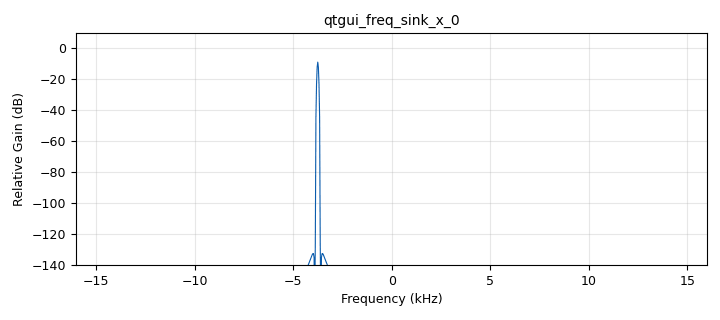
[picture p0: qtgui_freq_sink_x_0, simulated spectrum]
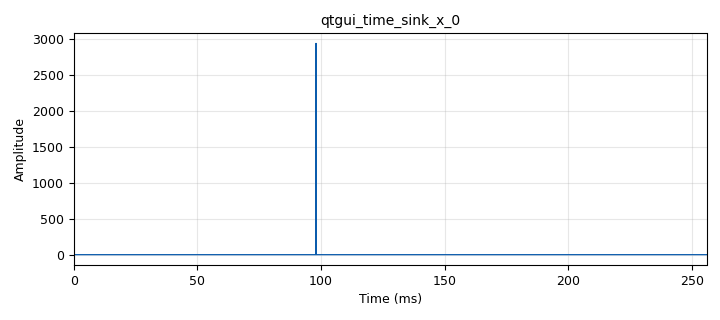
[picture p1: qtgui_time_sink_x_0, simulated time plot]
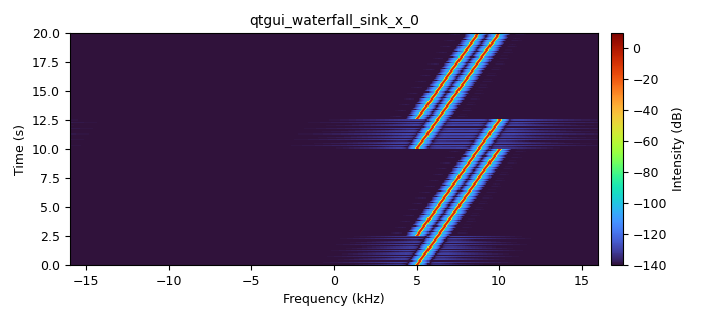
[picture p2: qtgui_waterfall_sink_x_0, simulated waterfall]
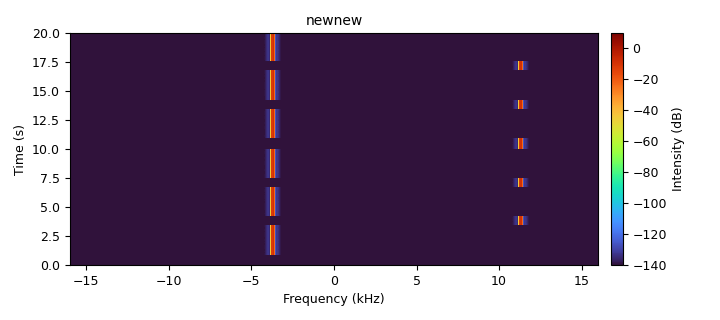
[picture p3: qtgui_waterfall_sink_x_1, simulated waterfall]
options:
  parameters:
    generate_options: qt_gui
    id: untitled
    output_language: python
    title: Not titled yet
  states: {}

blocks:
- name: samp_rate
  id: variable
  parameters:
    value: 32e3
  states: {}
- name: blocks_add_xx_0
  id: blocks_add_xx
  parameters:
    type: complex
  states: {}
- name: blocks_complex_to_mag_1
  id: blocks_complex_to_mag
  parameters: {}
  states: {}
- name: blocks_delay_0
  id: blocks_delay
  parameters:
    delay: '10000'
    type: complex
  states: {}
- name: blocks_delay_0_0
  id: blocks_delay
  parameters:
    delay: '10000'
    type: complex
  states: {}
- name: blocks_delay_0_1
  id: blocks_delay
  parameters:
    delay: '10000'
    type: complex
  states: {}
- name: blocks_delay_0_2
  id: blocks_delay
  parameters:
    delay: '10000'
    type: complex
  states: {}
- name: blocks_delay_0_3
  id: blocks_delay
  parameters:
    delay: '10000'
    type: complex
  states: {}
- name: blocks_delay_0_4
  id: blocks_delay
  parameters:
    delay: '10000'
    type: complex
  states: {}
- name: blocks_delay_0_5
  id: blocks_delay
  parameters:
    delay: '10000'
    type: complex
  states: {}
- name: blocks_delay_0_6
  id: blocks_delay
  parameters:
    delay: '10000'
    type: complex
  states: {}
- name: blocks_multiply_conjugate_cc_0
  id: blocks_multiply_conjugate_cc
  parameters: {}
  states: {}
- name: blocks_stream_to_vector_0
  id: blocks_stream_to_vector
  parameters:
    num_items: '8192'
    type: complex
  states: {}
- name: blocks_throttle2_0
  id: blocks_throttle2
  parameters:
    samples_per_second: samp_rate
    type: complex
  states: {}
- name: blocks_vector_to_stream_0
  id: blocks_vector_to_stream
  parameters:
    num_items: '8192'
    type: complex
  states: {}
- name: epy_block_0_0
  id: epy_block
  parameters:
    _source_code: |-
      import numpy as np
      from gnuradio import gr


      class Distance_calc(gr.sync_block):
          """
          A custom GNU Radio block to calculate velocity from a simulated frequency shift.

          Attributes:
              transmitted_freq (float): The frequency of the transmitted signal in Hz.
              speed_of_light (float): The speed of light in meters per second, typically 3e8.
          """
          def __init__(self, slope=500, speed_of_light=3e8, samp_rate=40000, fft_size = 8192):
              gr.sync_block.__init__(self, name="Distance_calc", in_sig=[np.float32], out_sig=[np.float32])
              self.slope = slope
              self.speed_of_light = speed_of_light
              self.samp_rate = samp_rate
              self.fft_size = fft_size

          def work(self, input_items, output_items):
              in0 = input_items[0]
              out = output_items[0]
              input_max = np.argmax(in0)
              frequency_bin_width = self.samp_rate / self.fft_size
              #print(frequency_bin_width)
              delta_f = (input_max - 4095) * frequency_bin_width
              print(delta_f)
              distance = self.slope * delta_f * (self.speed_of_light / 2)
              out[:] = distance
                  #print("start frame")
                  #print('index of max:', input_max)
                  #print('value of max:', part_of_in0[input_max])
                  #print('bin width:', frequency_bin_width)
                  #print('length of input stream:', len(in0))
                  #print('velocity:', out)
                  #print("end frame")

              return len(output_items[0])
    fft_size: '8192'
    samp_rate: '40000'
    slope: '2.5627e-4'
    speed_of_light: '300000000.0'
  states: {}
- name: epy_block_0_1
  id: epy_block
  parameters:
    _source_code: "import numpy as np\nfrom gnuradio import gr\n\nclass signal_source_repeating_chirp(gr.sync_block):\n    \"\"\"\n    A Python block that generates a repeating linear chirp signal in GNU Radio.\n    \"\"\"\n    def __init__(self, samp_rate = 1, start_freq = 0, end_freq = 0, duration = 1, amplitude = 0, offset = 0, initial_phase = 0):\n        gr.sync_block.__init__(\n            self,\n            name='Signal Source Repeating Chirp',  # Block name\n            in_sig=None,                           # No input signal\n            out_sig=[np.complex64]                 # Output signal type is complex\n        )\n        # Initialize block parameters\n        self.samp_rate = samp_rate\n        self.start_freq = start_freq\n        self.end_freq = end_freq\n        self.amplitude = amplitude\n        self.offset = offset\n        self.initial_phase = initial_phase\n        self.duration = duration\n        self.num_samples = int(duration * samp_rate)\n        self.frequency_slope = (end_freq - start_freq) / self.num_samples\n        self.phase = initial_phase\n        self.sample_count = 0\n        \n    def work(self, input_items, output_items):\n        out = output_items[0]\n        for i in range(len(out)):\n            current_sample = self.sample_count % self.num_samples\n            phase_t = (2 * np.pi * (self.start_freq * current_sample + 0.5 * self.frequency_slope * current_sample**2) / self.samp_rate) + self.initial_phase\n            \n            out[i] = self.amplitude * np.exp(1j * phase_t) + self.offset\n            self.sample_count += 1\n    \n            # When completing a chirp cycle, update initial_phase for smooth transition\n            if current_sample == self.num_samples - 1:\n                self.initial_phase = phase_t % (2 * np.pi)\n                self.sample_count = 0  # Optionally reset sample count for clarity, not strictly necessary\n\n        return len(out)\n\n"
    amplitude: '1'
    duration: '10'
    end_freq: '10000'
    initial_phase: '0'
    offset: '0'
    samp_rate: samp_rate
    start_freq: '5000'
  states: {}
- name: fft_vxx_0
  id: fft_vxx
  parameters:
    fft_size: '8192'
    forward: 'True'
    shift: 'True'
    type: complex
    window: window.blackmanharris(8192)
  states: {}
- name: qtgui_freq_sink_x_0
  id: qtgui_freq_sink_x
  parameters:
    bw: samp_rate
    ctrlpanel: 'True'
    fc: '0'
    fftsize: '1024'
    type: complex
  states: {}
- name: qtgui_number_sink_1
  id: qtgui_number_sink
  parameters:
    autoscale: 'True'
    graph_type: qtgui.NUM_GRAPH_HORIZ
    max: '10'
    min: '-10'
    type: float
  states: {}
- name: qtgui_time_sink_x_0
  id: qtgui_time_sink_x
  parameters:
    autoscale: 'True'
    ctrlpanel: 'True'
    size: '8192'
    srate: samp_rate
    type: float
  states: {}
- name: qtgui_waterfall_sink_x_0
  id: qtgui_waterfall_sink_x
  parameters:
    bw: samp_rate
    fc: '0'
    fftsize: '1024'
    type: complex
  states: {}
- name: qtgui_waterfall_sink_x_1
  id: qtgui_waterfall_sink_x
  parameters:
    bw: samp_rate
    fc: '0'
    fftsize: '1024'
    name: '"newnew"'
    type: complex
  states: {}
- name: rational_resampler_xxx_0
  id: rational_resampler_xxx
  parameters:
    decim: '3'
    interp: '1'
    type: ccc
  states: {}

connections:
- [blocks_add_xx_0, '0', blocks_throttle2_0, '0']
- [blocks_complex_to_mag_1, '0', epy_block_0_0, '0']
- [blocks_complex_to_mag_1, '0', qtgui_time_sink_x_0, '0']
- [blocks_delay_0, '0', blocks_delay_0_0, '0']
- [blocks_delay_0_0, '0', blocks_delay_0_1, '0']
- [blocks_delay_0_1, '0', blocks_delay_0_2, '0']
- [blocks_delay_0_2, '0', blocks_delay_0_3, '0']
- [blocks_delay_0_3, '0', blocks_delay_0_4, '0']
- [blocks_delay_0_4, '0', blocks_delay_0_5, '0']
- [blocks_delay_0_5, '0', blocks_delay_0_6, '0']
- [blocks_delay_0_6, '0', blocks_add_xx_0, '1']
- [blocks_delay_0_6, '0', blocks_multiply_conjugate_cc_0, '0']
- [blocks_multiply_conjugate_cc_0, '0', rational_resampler_xxx_0, '0']
- [blocks_stream_to_vector_0, '0', fft_vxx_0, '0']
- [blocks_throttle2_0, '0', qtgui_waterfall_sink_x_0, '0']
- [blocks_vector_to_stream_0, '0', blocks_complex_to_mag_1, '0']
- [epy_block_0_0, '0', qtgui_number_sink_1, '0']
- [epy_block_0_1, '0', blocks_add_xx_0, '0']
- [epy_block_0_1, '0', blocks_delay_0, '0']
- [epy_block_0_1, '0', blocks_multiply_conjugate_cc_0, '1']
- [fft_vxx_0, '0', blocks_vector_to_stream_0, '0']
- [rational_resampler_xxx_0, '0', blocks_stream_to_vector_0, '0']
- [rational_resampler_xxx_0, '0', qtgui_freq_sink_x_0, '0']
- [rational_resampler_xxx_0, '0', qtgui_waterfall_sink_x_1, '0']

metadata:
  file_format: 1
  grc_version: 3.10.9.2
